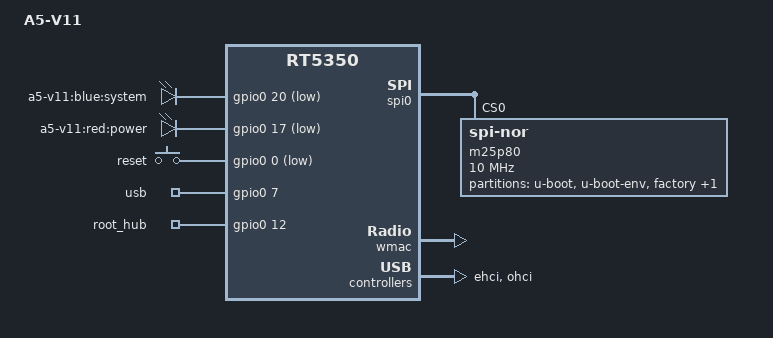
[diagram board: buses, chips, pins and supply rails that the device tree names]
/dts-v1/;

#include "rt5350.dtsi"

/ {
	compatible = "A5-V11", "ralink,rt5350-soc";
	model = "A5-V11";

	gpio-leds {
		compatible = "gpio-leds";

		system {
			label = "a5-v11:blue:system";
			gpios = <&gpio0 20 1>;
		};

		power {
			label = "a5-v11:red:power";
			gpios = <&gpio0 17 1>;
		};
	};

	gpio-keys-polled {
		compatible = "gpio-keys-polled";
		#address-cells = <1>;
		#size-cells = <0>;
		poll-interval = <20>;

		reset {
			label = "reset";
			gpios = <&gpio0 0 1>;
			linux,code = <0x198>;
		};
	};

	gpio_export {
		compatible = "gpio-export";
		#size-cells = <0>;

		usb {
			gpio-export,name = "usb";
			gpio-export,output = <1>;
			gpios = <&gpio0 7 0>;
		};

		root_hub {
			gpio-export,name = "root_hub";
			gpio-export,output = <1>;
			gpios = <&gpio0 12 0>;
		};
	};
};

&spi0 {
	status = "okay";

	m25p80@0 {
		#address-cells = <1>;
		#size-cells = <1>;
		compatible = "jedec,spi-nor";
		reg = <0>;
		linux,modalias = "m25p80", "pm25lq032";
		spi-max-frequency = <10000000>;

		partition@0 {
			label = "u-boot";
			reg = <0x0 0x30000>;
			read-only;
		};

		partition@30000 {
			label = "u-boot-env";
			reg = <0x30000 0x10000>;
			read-only;
		};

		factory: partition@40000 {
			label = "factory";
			reg = <0x40000 0x10000>;
			read-only;
		};

		partition@50000 {
			label = "firmware";
			reg = <0x50000 0x3b0000>;
		};
	};
};

&gpio1 {
	status = "okay";
};

&pinctrl {
	state_default: pinctrl0 {
		gpio {
			ralink,group = "i2c", "jtag", "uartf", "led";
			ralink,function = "gpio";
		};
	};
};

&ethernet {
	mtd-mac-address = <&factory 0x4>;
};

&esw {
	mediatek,portmap = <0x1>;
	mediatek,portdisable = <0x3e>;
};

&wmac {
	ralink,mtd-eeprom = <&factory 0>;
};

&ehci {
	status = "okay";
};

&ohci {
	status = "okay";
};
